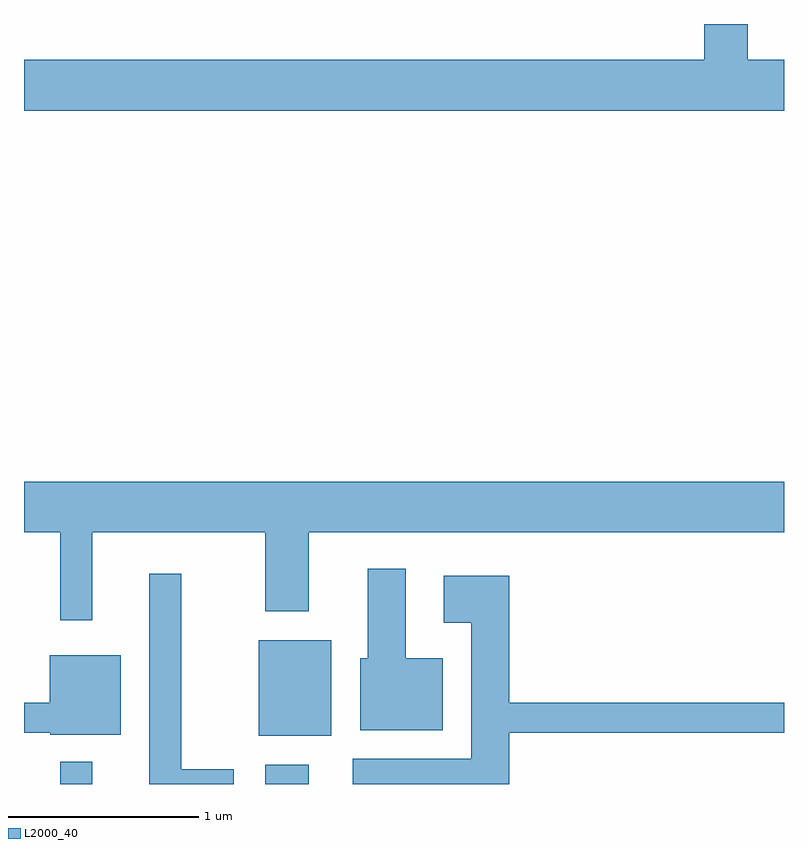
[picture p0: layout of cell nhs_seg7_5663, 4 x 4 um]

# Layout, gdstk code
import gdstk
lib = gdstk.Library(unit=1e-6, precision=1e-09)
def R(c, l, rs):  # rectangles x0, y0, x1, y1
    for r in rs: c.add(gdstk.rectangle(r[:2], r[2:], *l))
def P(c, l, *ps):  # polygons
    for p in ps: c.add(gdstk.Polygon(p, *l))
L2000_40 = (2000, 40)

nhs_seg7_5663 = lib.new_cell('nhs_seg7_5663')
R(nhs_seg7_5663, L2000_40, [(357.801,1786.252,357.969,1786.368), (358.881,1786.252,359.109,1786.354), (358.846,1786.506,359.229,1787.009)])
P(nhs_seg7_5663, L2000_40, [(361.611,1790.064),(361.419,1790.064),(361.419,1790.252),(361.191,1790.252),(361.191,1790.064),(357.611,1790.064),(357.611,1789.796),(361.611,1789.796)],
  [(357.969,1787.576),(358.881,1787.576),(358.881,1787.161),(359.109,1787.161),(359.109,1787.576),(361.611,1787.576),(361.611,1787.844),(357.611,1787.844),(357.611,1787.576),(357.801,1787.576),(357.801,1787.113),(357.969,1787.113)],
  [(359.814,1786.914),(359.619,1786.914),(359.619,1787.384),(359.421,1787.384),(359.421,1786.914),(359.381,1786.914),(359.381,1786.536),(359.814,1786.536)],
  [(358.714,1786.329),(358.439,1786.329),(358.439,1787.358),(358.271,1787.358),(358.271,1786.252),(358.714,1786.252)],
  [(360.164,1786.521),(361.611,1786.521),(361.611,1786.679),(360.164,1786.679),(360.164,1787.349),(359.821,1787.349),(359.821,1787.101),(359.966,1787.101),(359.966,1786.384),(359.341,1786.384),(359.341,1786.252),(360.164,1786.252)],
  [(358.119,1786.929),(357.746,1786.929),(357.746,1786.679),(357.611,1786.679),(357.611,1786.521),(357.75,1786.521),(357.75,1786.511),(358.119,1786.511)])

lib.write_gds('nhs_seg7_5663.gds')
